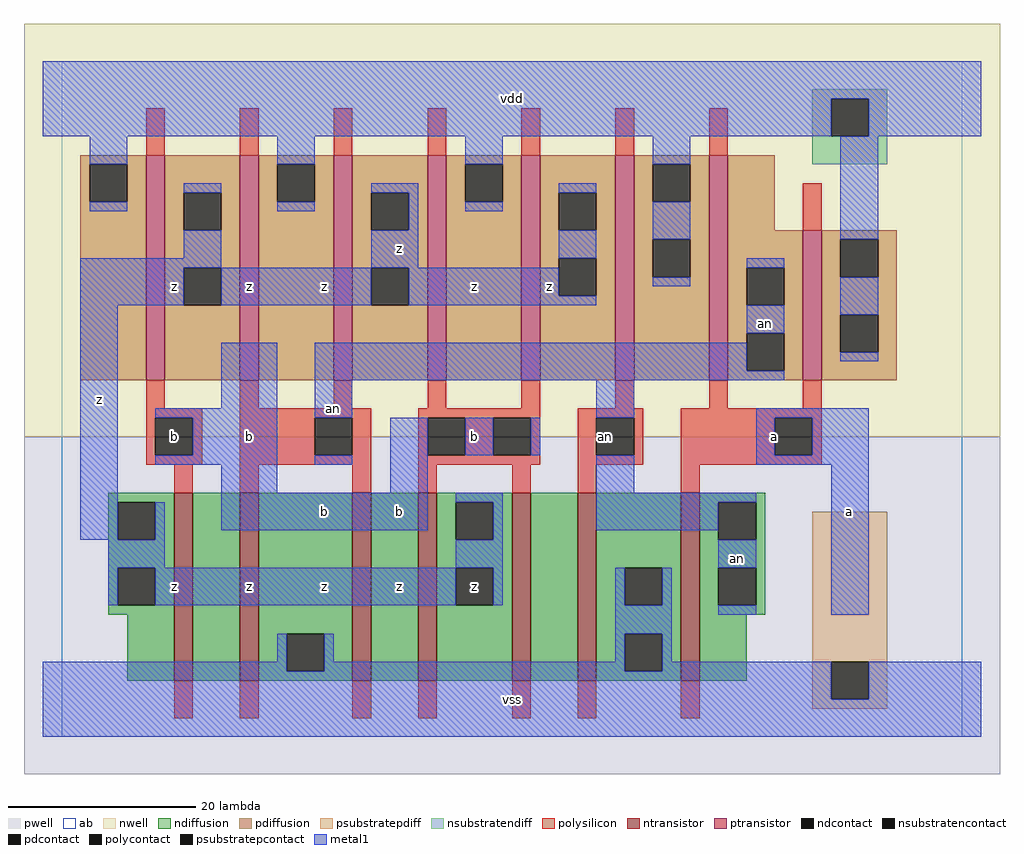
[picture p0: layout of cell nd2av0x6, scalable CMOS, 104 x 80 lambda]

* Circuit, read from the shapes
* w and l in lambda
.subckt nd2av0x6 a an b vdd vss z
M1 n1 b z vss nfet w=20 l=2
M2 vss an n1 vss nfet w=20 l=2
M3 n2 an vss vss nfet w=20 l=2
M4 z b n2 vss nfet w=20 l=2
M5 n3 b z vss nfet w=20 l=2
M6 vss an n3 vss nfet w=20 l=2
M7 an a vss vss nfet w=20 l=2
M8 z b vdd vdd pfet w=24 l=2 m=3
M9 vdd an z vdd pfet w=24 l=2 m=3
M10 an a vdd vdd pfet w=24 l=2
M11 vdd a an vdd pfet w=16 l=2
.ends

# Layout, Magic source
magic
tech scmos
<< ab >>
rect 0 0 96 72
<< pwell >>
rect -4 -4 100 32
<< nwell >>
rect -4 32 100 76
<< polysilicon >>
rect 9 62 11 67
rect 19 62 21 67
rect 29 62 31 67
rect 39 62 41 67
rect 49 62 51 67
rect 59 62 61 67
rect 69 62 71 67
rect 79 54 81 59
rect 9 35 11 38
rect 19 35 21 38
rect 29 35 31 38
rect 39 35 41 38
rect 49 35 51 38
rect 59 35 61 38
rect 69 35 71 38
rect 79 35 81 38
rect 9 34 15 35
rect 9 30 10 34
rect 14 30 15 34
rect 9 29 15 30
rect 19 34 33 35
rect 19 30 27 34
rect 31 30 33 34
rect 19 29 33 30
rect 12 26 14 29
rect 19 26 21 29
rect 31 26 33 29
rect 38 34 51 35
rect 38 30 39 34
rect 43 30 46 34
rect 50 30 51 34
rect 38 29 51 30
rect 55 34 62 35
rect 55 30 57 34
rect 61 30 62 34
rect 55 29 62 30
rect 66 34 81 35
rect 66 30 76 34
rect 80 30 81 34
rect 66 29 81 30
rect 38 26 40 29
rect 48 26 50 29
rect 55 26 57 29
rect 66 26 68 29
rect 12 2 14 6
rect 19 2 21 6
rect 31 2 33 6
rect 38 2 40 6
rect 48 2 50 6
rect 55 2 57 6
rect 66 2 68 6
<< ndiffusion >>
rect 5 25 12 26
rect 5 21 6 25
rect 10 21 12 25
rect 5 18 12 21
rect 5 14 6 18
rect 10 14 12 18
rect 5 13 12 14
rect 7 6 12 13
rect 14 6 19 26
rect 21 11 31 26
rect 21 7 24 11
rect 28 7 31 11
rect 21 6 31 7
rect 33 6 38 26
rect 40 25 48 26
rect 40 21 42 25
rect 46 21 48 25
rect 40 18 48 21
rect 40 14 42 18
rect 46 14 48 18
rect 40 6 48 14
rect 50 6 55 26
rect 57 18 66 26
rect 57 14 60 18
rect 64 14 66 18
rect 57 11 66 14
rect 57 7 60 11
rect 64 7 66 11
rect 57 6 66 7
rect 68 25 75 26
rect 68 21 70 25
rect 74 21 75 25
rect 68 18 75 21
rect 68 14 70 18
rect 74 14 75 18
rect 68 13 75 14
rect 68 6 73 13
<< pdiffusion >>
rect 2 61 9 62
rect 2 57 3 61
rect 7 57 9 61
rect 2 38 9 57
rect 11 58 19 62
rect 11 54 13 58
rect 17 54 19 58
rect 11 50 19 54
rect 11 46 13 50
rect 17 46 19 50
rect 11 38 19 46
rect 21 61 29 62
rect 21 57 23 61
rect 27 57 29 61
rect 21 38 29 57
rect 31 58 39 62
rect 31 54 33 58
rect 37 54 39 58
rect 31 50 39 54
rect 31 46 33 50
rect 37 46 39 50
rect 31 38 39 46
rect 41 61 49 62
rect 41 57 43 61
rect 47 57 49 61
rect 41 38 49 57
rect 51 58 59 62
rect 51 54 53 58
rect 57 54 59 58
rect 51 51 59 54
rect 51 47 53 51
rect 57 47 59 51
rect 51 38 59 47
rect 61 61 69 62
rect 61 57 63 61
rect 67 57 69 61
rect 61 53 69 57
rect 61 49 63 53
rect 67 49 69 53
rect 61 38 69 49
rect 71 54 76 62
rect 71 50 79 54
rect 71 46 73 50
rect 77 46 79 50
rect 71 43 79 46
rect 71 39 73 43
rect 77 39 79 43
rect 71 38 79 39
rect 81 53 89 54
rect 81 49 83 53
rect 87 49 89 53
rect 81 45 89 49
rect 81 41 83 45
rect 87 41 89 45
rect 81 38 89 41
<< metal1 >>
rect -2 68 98 72
rect -2 64 82 68
rect 86 64 98 68
rect 3 61 7 64
rect 23 61 27 64
rect 3 56 7 57
rect 13 58 17 59
rect 43 61 47 64
rect 23 56 27 57
rect 33 58 38 59
rect 13 51 17 54
rect 2 50 17 51
rect 37 54 38 58
rect 63 61 67 64
rect 43 56 47 57
rect 53 58 57 59
rect 33 50 38 54
rect 53 51 57 54
rect 2 46 13 50
rect 17 46 33 50
rect 37 47 53 50
rect 63 53 67 57
rect 83 53 87 64
rect 63 48 67 49
rect 73 50 77 51
rect 37 46 57 47
rect 2 21 6 46
rect 73 43 77 46
rect 17 35 23 42
rect 10 34 23 35
rect 14 30 23 34
rect 10 29 23 30
rect 27 39 73 42
rect 83 45 87 49
rect 83 40 87 41
rect 27 38 77 39
rect 27 34 31 38
rect 57 34 61 38
rect 27 29 31 30
rect 17 26 23 29
rect 35 26 39 34
rect 43 30 46 34
rect 50 30 51 34
rect 57 26 61 30
rect 74 34 86 35
rect 74 30 76 34
rect 80 30 86 34
rect 74 29 86 30
rect 10 21 11 25
rect 17 22 39 26
rect 42 25 47 26
rect 5 18 11 21
rect 46 21 47 25
rect 57 25 74 26
rect 57 22 70 25
rect 42 18 47 21
rect 70 18 74 21
rect 5 14 6 18
rect 10 14 42 18
rect 46 14 47 18
rect 59 14 60 18
rect 64 14 65 18
rect 59 11 65 14
rect 70 13 74 14
rect 82 13 86 29
rect 23 8 24 11
rect -2 7 24 8
rect 28 8 29 11
rect 59 8 60 11
rect 28 7 60 8
rect 64 8 65 11
rect 64 7 82 8
rect -2 4 82 7
rect 86 4 98 8
rect -2 0 98 4
<< ntransistor >>
rect 12 6 14 26
rect 19 6 21 26
rect 31 6 33 26
rect 38 6 40 26
rect 48 6 50 26
rect 55 6 57 26
rect 66 6 68 26
<< ptransistor >>
rect 9 38 11 62
rect 19 38 21 62
rect 29 38 31 62
rect 39 38 41 62
rect 49 38 51 62
rect 59 38 61 62
rect 69 38 71 62
rect 79 38 81 54
<< polycontact >>
rect 10 30 14 34
rect 27 30 31 34
rect 39 30 43 34
rect 46 30 50 34
rect 57 30 61 34
rect 76 30 80 34
<< ndcontact >>
rect 6 21 10 25
rect 6 14 10 18
rect 24 7 28 11
rect 42 21 46 25
rect 42 14 46 18
rect 60 14 64 18
rect 60 7 64 11
rect 70 21 74 25
rect 70 14 74 18
<< pdcontact >>
rect 3 57 7 61
rect 13 54 17 58
rect 13 46 17 50
rect 23 57 27 61
rect 33 54 37 58
rect 33 46 37 50
rect 43 57 47 61
rect 53 54 57 58
rect 53 47 57 51
rect 63 57 67 61
rect 63 49 67 53
rect 73 46 77 50
rect 73 39 77 43
rect 83 49 87 53
rect 83 41 87 45
<< psubstratepcontact >>
rect 82 4 86 8
<< nsubstratencontact >>
rect 82 64 86 68
<< psubstratepdiff >>
rect 80 8 88 24
rect 80 4 82 8
rect 86 4 88 8
rect 80 3 88 4
<< nsubstratendiff >>
rect 80 68 88 69
rect 80 64 82 68
rect 86 64 88 68
rect 80 61 88 64
<< labels >>
rlabel polycontact 58 32 58 32 6 an
rlabel metal1 12 16 12 16 6 z
rlabel polycontact 12 32 12 32 6 b
rlabel metal1 4 36 4 36 6 z
rlabel metal1 12 48 12 48 6 z
rlabel metal1 28 16 28 16 6 z
rlabel metal1 20 16 20 16 6 z
rlabel metal1 28 24 28 24 6 b
rlabel metal1 29 35 29 35 6 an
rlabel metal1 20 32 20 32 6 b
rlabel metal1 20 48 20 48 6 z
rlabel metal1 28 48 28 48 6 z
rlabel metal1 48 4 48 4 6 vss
rlabel ndcontact 44 16 44 16 6 z
rlabel metal1 36 16 36 16 6 z
rlabel metal1 36 24 36 24 6 b
rlabel metal1 44 32 44 32 6 b
rlabel metal1 36 52 36 52 6 z
rlabel metal1 44 48 44 48 6 z
rlabel metal1 52 48 52 48 6 z
rlabel metal1 48 68 48 68 6 vdd
rlabel metal1 72 19 72 19 6 an
rlabel metal1 76 32 76 32 6 a
rlabel polycontact 59 32 59 32 6 an
rlabel metal1 75 44 75 44 6 an
rlabel metal1 84 24 84 24 6 a
<< end >>
